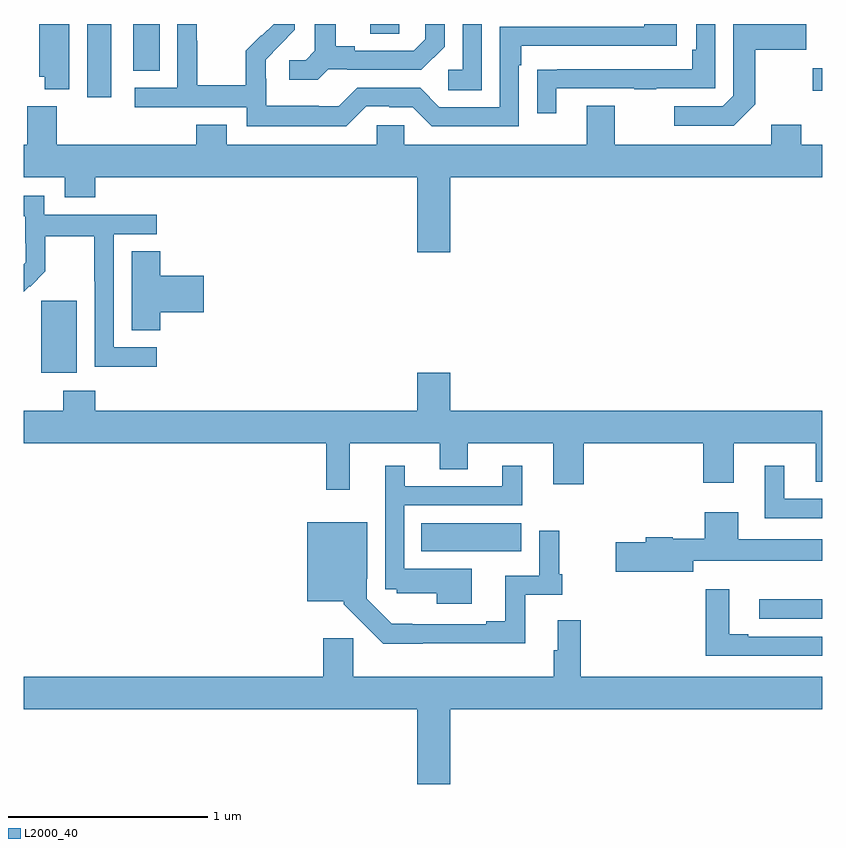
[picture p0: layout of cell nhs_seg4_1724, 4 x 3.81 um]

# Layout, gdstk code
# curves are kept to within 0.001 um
import gdstk
lib = gdstk.Library(unit=1e-6, precision=1e-09)
def R(c, l, rs):  # rectangles x0, y0, x1, y1
    for r in rs: c.add(gdstk.rectangle(r[:2], r[2:], *l))
def P(c, l, *ps):  # polygons
    for p in ps: c.add(gdstk.Polygon(p, *l))
L2000_40 = (2000, 40)

nhs_seg4_1724 = lib.new_cell('nhs_seg4_1724')
R(nhs_seg4_1724, L2000_40, [(202.683,815.922,203,816.02), (200.992,816.26,201.493,816.4), (199.088,817.154,199.267,817.515), (199.319,818.532,199.438,818.9), (202.953,818.565,203,818.678), (199.55,818.665,199.681,818.9), (200.735,818.851,200.88,818.9)])
P(nhs_seg4_1724, L2000_40, [(200.715,818.487),(200.831,818.487),(200.831,818.484),(200.949,818.484),(201.045,818.388),(201.48,818.388),(201.48,818.693),(201.493,818.693),(201.493,818.79),(202.27,818.79),(202.27,818.9),(202.109,818.9),(202.109,818.886),(201.384,818.886),(201.384,818.484),(201.081,818.484),(200.985,818.58),(200.67,818.58),(200.577,818.487),(200.477,818.487),(200.477,818.491),(200.214,818.491),(200.214,818.625),(200.212,818.625),(200.212,818.722),(200.358,818.87),(200.358,818.9),(200.252,818.9),(200.193,818.841),(200.19,818.844),(200.113,818.767),(200.113,818.593),(199.869,818.593),(199.869,818.816),(199.866,818.816),(199.866,818.9),(199.77,818.9),(199.77,818.58),(199.557,818.58),(199.557,818.484),(200.118,818.484),(200.118,818.387),(200.615,818.387)],
  [(199.228,818.9),(199.079,818.9),(199.079,818.637),(199.106,818.637),(199.106,818.573),(199.228,818.573)],
  [(201.294,818.9),(201.198,818.9),(201.198,818.67),(201.126,818.67),(201.126,818.569),(201.294,818.569)],
  [(201.667,818.577),(202.057,818.577),(202.057,818.572),(202.169,818.572),(202.169,818.577),(202.464,818.577),(202.464,818.9),(202.368,818.9),(202.368,818.77),(202.348,818.77),(202.348,818.673),(201.673,818.673),(201.673,818.672),(201.571,818.672),(201.571,818.454),(201.667,818.454)],
  [(202.663,818.497),(202.663,818.77),(202.919,818.77),(202.919,818.9),(202.554,818.9),(202.554,818.541),(202.5,818.487),(202.257,818.487),(202.257,818.391),(202.557,818.391)],
  [(200.526,818.673),(200.62,818.673),(200.62,818.67),(200.992,818.67),(201.108,818.786),(201.108,818.9),(201.011,818.9),(201.011,818.823),(200.954,818.766),(200.659,818.766),(200.659,818.789),(200.563,818.789),(200.563,818.9),(200.459,818.9),(200.459,818.765),(200.412,818.718),(200.331,818.718),(200.331,818.621),(200.474,818.621)],
  [(201.136,818.132),(203,818.132),(203,818.296),(202.893,818.296),(202.893,818.395),(202.745,818.395),(202.745,818.296),(201.961,818.296),(201.961,818.491),(201.821,818.491),(201.821,818.296),(200.907,818.296),(200.907,818.394),(200.769,818.394),(200.769,818.296),(200.017,818.296),(200.017,818.395),(199.865,818.395),(199.865,818.296),(199.167,818.296),(199.167,818.488),(199.019,818.488),(199.019,818.296),(199,818.296),(199,818.132),(199.205,818.132),(199.205,818.033),(199.358,818.033),(199.358,818.132),(200.972,818.132),(200.972,817.758),(201.136,817.758)],
  [(199.666,817.281),(199.452,817.281),(199.452,817.848),(199.666,817.848),(199.666,817.944),(199.104,817.944),(199.104,818.041),(199,818.041),(199,817.937),(199.008,817.937),(199.008,817.803),(199.01,817.803),(199.01,817.706),(199,817.696),(199,817.558),(199.029,817.587),(199.032,817.584),(199.109,817.661),(199.109,817.836),(199.354,817.836),(199.354,817.612),(199.356,817.612),(199.356,817.183),(199.666,817.183)],
  [(199.685,817.457),(199.903,817.457),(199.903,817.64),(199.685,817.64),(199.685,817.763),(199.541,817.763),(199.541,817.366),(199.685,817.366)],
  [(200.633,816.8),(201.083,816.8),(201.083,816.67),(201.223,816.67),(201.223,816.8),(201.653,816.8),(201.653,816.594),(201.806,816.594),(201.806,816.8),(202.403,816.8),(202.403,816.603),(202.555,816.603),(202.555,816.8),(202.967,816.8),(202.967,816.607),(203,816.607),(203,816.964),(201.136,816.964),(201.136,817.153),(200.972,817.153),(200.972,816.964),(199.358,816.964),(199.358,817.063),(199.198,817.063),(199.198,816.964),(199,816.964),(199,816.8),(200.515,816.8),(200.515,816.567),(200.633,816.567)],
  [(203,816.522),(202.81,816.522),(202.81,816.688),(202.712,816.688),(202.712,816.426),(203,816.426)],
  [(201.244,816.172),(200.907,816.172),(200.907,816.489),(201.496,816.489),(201.496,816.688),(201.398,816.688),(201.398,816.585),(200.908,816.585),(200.908,816.688),(200.811,816.688),(200.811,816.069),(200.868,816.069),(200.868,816.05),(201.068,816.05),(201.068,815.996),(201.244,815.996)],
  [(202.354,816.212),(203,816.212),(203,816.319),(202.579,816.319),(202.579,816.454),(202.412,816.454),(202.412,816.322),(202.25,816.322),(202.25,816.33),(202.115,816.33),(202.115,816.305),(201.966,816.305),(201.966,816.158),(202.354,816.158)],
  [(200.999,815.798),(201.511,815.798),(201.511,816.042),(201.698,816.042),(201.698,816.145),(201.683,816.145),(201.683,816.361),(201.582,816.361),(201.582,816.138),(201.413,816.138),(201.413,815.908),(201.317,815.908),(201.317,815.895),(200.844,815.896),(200.718,816.021),(200.718,816.121),(200.722,816.121),(200.722,816.406),(200.42,816.406),(200.42,816.008),(200.603,816.008),(200.603,815.993),(200.8,815.796),(200.999,815.796)],
  [(203,815.832),(202.63,815.832),(202.63,815.845),(202.534,815.845),(202.534,816.07),(202.417,816.07),(202.417,815.736),(203,815.736)],
  [(201.136,815.468),(203,815.468),(203,815.632),(201.791,815.632),(201.791,815.914),(201.674,815.914),(201.674,815.765),(201.655,815.765),(201.655,815.632),(200.651,815.632),(200.651,815.823),(200.501,815.823),(200.501,815.632),(199,815.632),(199,815.468),(200.972,815.468),(200.972,815.094),(201.136,815.094)])

lib.write_gds('nhs_seg4_1724.gds')
